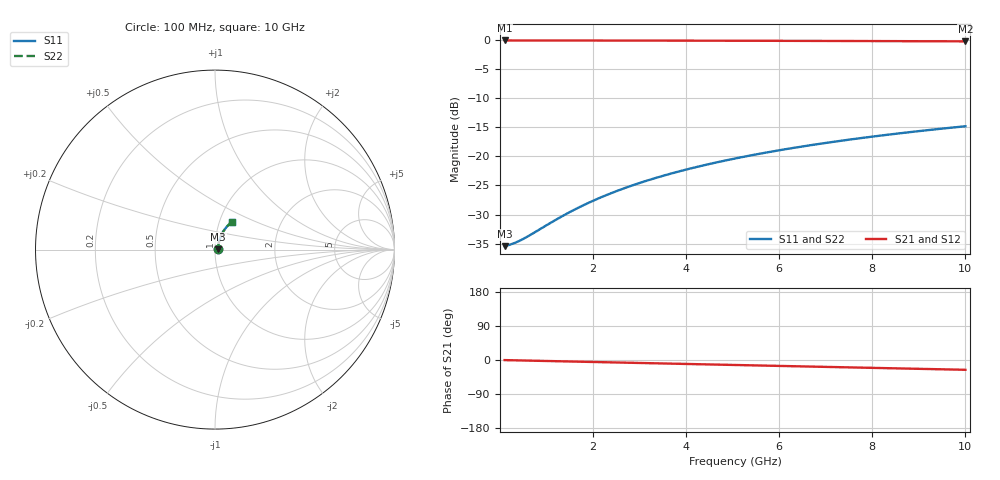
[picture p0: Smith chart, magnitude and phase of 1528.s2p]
# Hz S RI R 50.00
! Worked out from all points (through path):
!   100 points, 100 MHz to 10 GHz, reference 50 ohm
!   highest |S21| = -0.15 dB at 100 MHz (marker M1); lowest = -0.3 dB at 10 GHz (marker M2)
!   group delay of S21, straight-line fit = 7.18 ps
!   lowest |S11| = -35.4 dB at 100 MHz (marker M3), VSWR 1.03, Z = 51.7 + j0.187 ohm
!   |S11| at or under -10 dB: start of sweep to end of sweep
!   |S22| runs from -35.4 to -14.9 dB; largest |S21 - S12| = 0
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1e8  0.0168 0.00181  0.9832 -0.00448  0.9832 -0.00448  0.0168 0.00181
2e8  0.017 0.00361  0.983 -0.00896  0.983 -0.00896  0.017 0.00361
3e8  0.0171 0.00542  0.9829 -0.0134  0.9829 -0.0134  0.0171 0.00542
5e8  0.0173 0.00902  0.9826 -0.0224  0.9826 -0.0224  0.0173 0.00902
7e8  0.0176 0.0126  0.9822 -0.0313  0.9822 -0.0313  0.0176 0.0126
1.3e9  0.0188 0.0234  0.9805 -0.0582  0.9805 -0.0582  0.0188 0.0234
1.6e9  0.0196 0.0287  0.9794 -0.0715  0.9794 -0.0715  0.0196 0.0287
1.8e9  0.0202 0.0323  0.9786 -0.0804  0.9786 -0.0804  0.0202 0.0323
2.1e9  0.0212 0.0376  0.9771 -0.0938  0.9771 -0.0938  0.0212 0.0376
2.5e9  0.0228 0.0446  0.9749 -0.1115  0.9749 -0.1115  0.0228 0.0446
2.9e9  0.0247 0.0516  0.9722 -0.1291  0.9722 -0.1291  0.0247 0.0516
3.4e9  0.0273 0.0601  0.9685 -0.1511  0.9685 -0.1511  0.0273 0.0601
3.8e9  0.0297 0.0669  0.965 -0.1685  0.965 -0.1685  0.0297 0.0669
4.2e9  0.0323 0.0736  0.9612 -0.1859  0.9612 -0.1859  0.0323 0.0736
4.6e9  0.0352 0.0801  0.9571 -0.2031  0.9571 -0.2031  0.0352 0.0801
5.1e9  0.0391 0.0882  0.9514 -0.2245  0.9514 -0.2245  0.0391 0.0882
5.9e9  0.046 0.1006  0.9412 -0.2583  0.9412 -0.2583  0.046 0.1006
6.7e9  0.0539 0.1125  0.9297 -0.2915  0.9297 -0.2915  0.0539 0.1125
7.5e9  0.0625 0.1237  0.9169 -0.324  0.9169 -0.324  0.0625 0.1237
8.4e9  0.0731 0.1355  0.901 -0.3598  0.901 -0.3598  0.0731 0.1355
9.2e9  0.0833 0.1452  0.8856 -0.3907  0.8856 -0.3907  0.0833 0.1452
1e10  0.0941 0.1541  0.8692 -0.4208  0.8692 -0.4208  0.0941 0.1541
